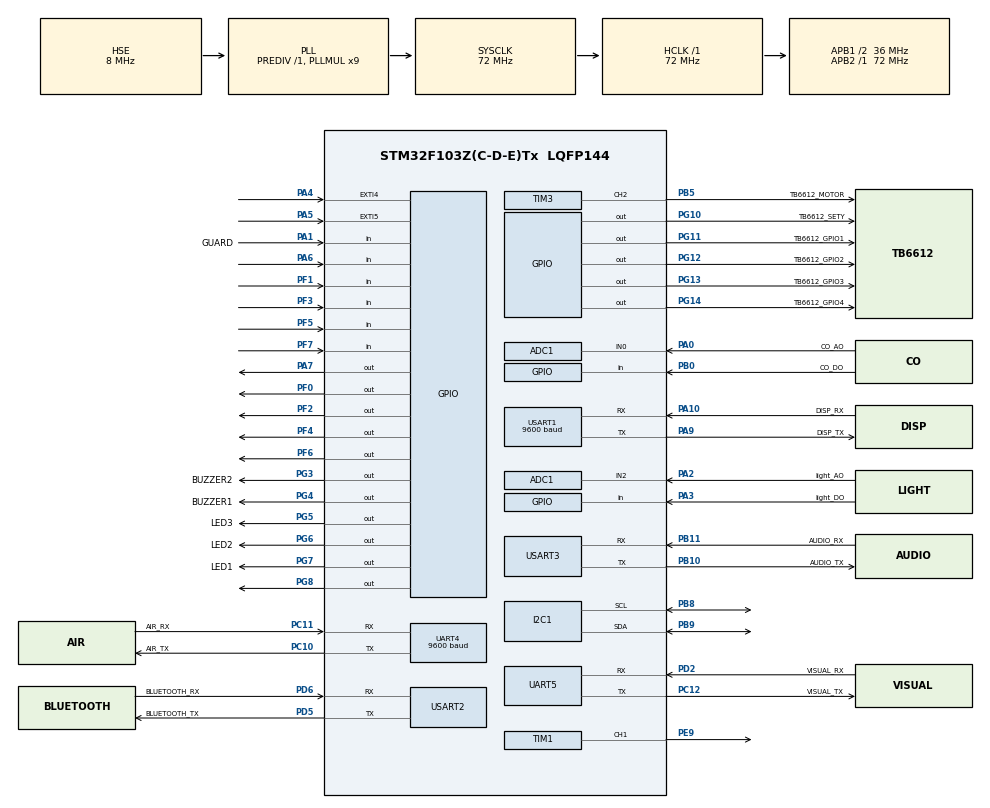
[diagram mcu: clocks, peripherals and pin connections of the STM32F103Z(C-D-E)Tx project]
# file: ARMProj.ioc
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ADC1.Channel-0\#ChannelRegularConversion=ADC_CHANNEL_2
ADC1.ContinuousConvMode=ENABLE
ADC1.NbrOfConversion=1
ADC1.NbrOfConversionFlag=1
ADC1.Rank-0\#ChannelRegularConversion=1
ADC1.SamplingTime-0\#ChannelRegularConversion=ADC_SAMPLETIME_239CYCLES_5
ADC1.master=1
Dma.ADC1.2.Direction=DMA_PERIPH_TO_MEMORY
Dma.ADC1.2.Instance=DMA1_Channel1
Dma.ADC1.2.MemDataAlignment=DMA_MDATAALIGN_HALFWORD
Dma.ADC1.2.MemInc=DMA_MINC_ENABLE
Dma.ADC1.2.Mode=DMA_CIRCULAR
Dma.ADC1.2.PeriphDataAlignment=DMA_PDATAALIGN_HALFWORD
Dma.ADC1.2.PeriphInc=DMA_PINC_DISABLE
Dma.ADC1.2.Priority=DMA_PRIORITY_LOW
Dma.Request0=USART1_RX
Dma.Request1=UART4_RX
Dma.Request2=ADC1
Dma.Request3=USART3_RX
Dma.UART4_RX.1.Direction=DMA_PERIPH_TO_MEMORY
Dma.UART4_RX.1.Instance=DMA2_Channel3
Dma.UART4_RX.1.MemDataAlignment=DMA_MDATAALIGN_BYTE
Dma.UART4_RX.1.MemInc=DMA_MINC_ENABLE
Dma.UART4_RX.1.Mode=DMA_NORMAL
Dma.UART4_RX.1.PeriphDataAlignment=DMA_PDATAALIGN_BYTE
Dma.UART4_RX.1.PeriphInc=DMA_PINC_DISABLE
Dma.UART4_RX.1.Priority=DMA_PRIORITY_MEDIUM
Dma.USART1_RX.0.Direction=DMA_PERIPH_TO_MEMORY
Dma.USART1_RX.0.Instance=DMA1_Channel5
Dma.USART1_RX.0.MemDataAlignment=DMA_MDATAALIGN_BYTE
Dma.USART1_RX.0.MemInc=DMA_MINC_ENABLE
Dma.USART1_RX.0.Mode=DMA_NORMAL
Dma.USART1_RX.0.PeriphDataAlignment=DMA_PDATAALIGN_BYTE
Dma.USART1_RX.0.PeriphInc=DMA_PINC_DISABLE
Dma.USART1_RX.0.Priority=DMA_PRIORITY_HIGH
Dma.USART3_RX.3.Direction=DMA_PERIPH_TO_MEMORY
Dma.USART3_RX.3.Instance=DMA1_Channel3
Dma.USART3_RX.3.MemDataAlignment=DMA_MDATAALIGN_BYTE
Dma.USART3_RX.3.MemInc=DMA_MINC_ENABLE
Dma.USART3_RX.3.Mode=DMA_NORMAL
Dma.USART3_RX.3.PeriphDataAlignment=DMA_PDATAALIGN_BYTE
Dma.USART3_RX.3.PeriphInc=DMA_PINC_DISABLE
Dma.USART3_RX.3.Priority=DMA_PRIORITY_MEDIUM
FREERTOS.BinarySemaphores01=uartWebSem,Dynamic,NULL;uartAirSem,Dynamic,NULL;uartAudioSem,Dynamic,NULL
FREERTOS.Tasks01=uart_web,2,128,StartUartWeb,Default,NULL,Dynamic,NULL,NULL;device_ctrl,0,128,StartDeviceCtrl,Default,NULL,Dynamic,NULL,NULL;detect_ctrl,0,128,StartDetectCtrl,Default,NULL,Dynamic,NULL,NULL;uart_audio,2,128,StartUartAudio,Default,NULL,Dynamic,NULL,NULL;uart_visual,1,128,StartUartVisual,Default,NULL,Dynamic,NULL,NULL
FREERTOS.configTOTAL_HEAP_SIZE=8192
Mcu.Family=STM32F1
Mcu.Name=STM32F103Z(C-D-E)Tx
Mcu.Package=LQFP144
NVIC.DMA1_Channel1_IRQn=true\:5\:0\:false\:false\:true\:true\:false\:true\:true
NVIC.DMA1_Channel3_IRQn=true\:5\:0\:false\:false\:true\:true\:false\:true\:true
NVIC.DMA1_Channel5_IRQn=true\:5\:0\:false\:false\:true\:true\:false\:true\:true
NVIC.DMA2_Channel3_IRQn=true\:5\:0\:false\:false\:true\:true\:false\:true\:true
NVIC.EXTI4_IRQn=true\:5\:0\:false\:false\:true\:true\:true\:true\:true
NVIC.EXTI9_5_IRQn=true\:5\:0\:false\:false\:true\:true\:true\:true\:true
NVIC.PriorityGroup=NVIC_PRIORITYGROUP_4
NVIC.TIM6_IRQn=true\:15\:0\:false\:false\:true\:false\:false\:true\:true
NVIC.TimeBase=TIM6_IRQn
NVIC.TimeBaseIP=TIM6
NVIC.UART4_IRQn=true\:5\:0\:false\:false\:true\:true\:true\:true\:true
NVIC.UART5_IRQn=true\:5\:0\:false\:false\:true\:true\:true\:true\:true
NVIC.USART1_IRQn=true\:5\:0\:false\:false\:true\:true\:true\:true\:true
NVIC.USART3_IRQn=true\:5\:0\:false\:false\:true\:true\:true\:true\:true
OSC_IN.Mode=HSE-External-Oscillator
OSC_IN.Signal=RCC_OSC_IN
OSC_OUT.Mode=HSE-External-Oscillator
OSC_OUT.Signal=RCC_OSC_OUT
PA0-WKUP.GPIO_Label=CO_AO
PA0-WKUP.Signal=ADCx_IN0
PA1.GPIO_Label=GUARD
PA1.Signal=GPIO_Input
PA10.GPIO_Label=DISP_RX
PA10.Mode=Asynchronous
PA10.Signal=USART1_RX
PA13.Mode=Serial_Wire
PA13.Signal=SYS_JTMS-SWDIO
PA14.Mode=Serial_Wire
PA14.Signal=SYS_JTCK-SWCLK
PA2.GPIO_Label=light_AO
PA2.Signal=ADCx_IN2
PA3.GPIO_Label=light_DO
PA3.Signal=GPIO_Input
PA4.Signal=GPXTI4
PA5.Signal=GPXTI5
PA6.Signal=GPIO_Input
PA7.Signal=GPIO_Output
PA9.GPIO_Label=DISP_TX
PA9.Mode=Asynchronous
PA9.Signal=USART1_TX
PB0.GPIO_Label=CO_DO
PB0.Signal=GPIO_Input
PB10.GPIO_Label=AUDIO_TX
PB10.Mode=Asynchronous
PB10.Signal=USART3_TX
PB11.GPIO_Label=AUDIO_RX
PB11.Mode=Asynchronous
PB11.Signal=USART3_RX
PB5.GPIO_Label=TB6612_MOTOR
PB5.Signal=S_TIM3_CH2
PB7.GPIO_Label=TB6612_FAN
PB7.Signal=S_TIM4_CH2
PB8.Mode=I2C
PB8.Signal=I2C1_SCL
PB9.Mode=I2C
PB9.Signal=I2C1_SDA
PC10.GPIO_Label=AIR_TX
PC10.Mode=Asynchronous
PC10.Signal=UART4_TX
PC11.GPIO_Label=AIR_RX
PC11.Mode=Asynchronous
PC11.Signal=UART4_RX
PC12.GPIO_Label=VISUAL_TX
PC12.Mode=Asynchronous
PC12.Signal=UART5_TX
PD2.GPIO_Label=VISUAL_RX
PD2.Mode=Asynchronous
PD2.Signal=UART5_RX
PD5.GPIO_Label=BLUETOOTH_TX
PD5.Mode=Asynchronous
PD5.Signal=USART2_TX
PD6.GPIO_Label=BLUETOOTH_RX
PD6.Mode=Asynchronous
PD6.Signal=USART2_RX
PE9.Signal=S_TIM1_CH1
PF0.GPIO_PuPd=GPIO_PULLDOWN
PF0.GPIO_Speed=GPIO_SPEED_FREQ_HIGH
PF0.Signal=GPIO_Output
PF1.GPIO_PuPd=GPIO_PULLDOWN
PF1.Signal=GPIO_Input
PF2.GPIO_PuPd=GPIO_PULLDOWN
PF2.GPIO_Speed=GPIO_SPEED_FREQ_HIGH
PF2.Signal=GPIO_Output
PF3.GPIO_PuPd=GPIO_PULLDOWN
PF3.Signal=GPIO_Input
PF4.GPIO_PuPd=GPIO_PULLDOWN
PF4.GPIO_Speed=GPIO_SPEED_FREQ_HIGH
PF4.Signal=GPIO_Output
PF5.GPIO_PuPd=GPIO_PULLDOWN
PF5.Signal=GPIO_Input
PF6.GPIO_PuPd=GPIO_PULLDOWN
PF6.GPIO_Speed=GPIO_SPEED_FREQ_HIGH
PF6.Signal=GPIO_Output
PF7.GPIO_PuPd=GPIO_PULLDOWN
PF7.Signal=GPIO_Input
PG10.GPIO_Label=TB6612_SETY
PG10.Signal=GPIO_Output
PG11.GPIO_Label=TB6612_GPIO1
PG11.Signal=GPIO_Output
PG12.GPIO_Label=TB6612_GPIO2
PG12.Signal=GPIO_Output
PG13.GPIO_Label=TB6612_GPIO3
PG13.Signal=GPIO_Output
PG14.GPIO_Label=TB6612_GPIO4
PG14.Signal=GPIO_Output
PG3.GPIO_Label=BUZZER2
PG3.Signal=GPIO_Output
PG4.GPIO_Label=BUZZER1
PG4.Signal=GPIO_Output
PG5.GPIO_Label=LED3
PG5.PinState=GPIO_PIN_SET
PG5.Signal=GPIO_Output
PG6.GPIO_Label=LED2
PG6.PinState=GPIO_PIN_SET
PG6.Signal=GPIO_Output
PG7.GPIO_Label=LED1
PG7.PinState=GPIO_PIN_SET
PG7.Signal=GPIO_Output
PG8.Signal=GPIO_Output
ProjectManager.HeapSize=0x200
ProjectManager.StackSize=0x400
ProjectManager.TargetToolchain=MDK-ARM V5.32
RCC.ADCPresc=RCC_ADCPCLK2_DIV6
RCC.AHBFreq_Value=72000000
RCC.APB1CLKDivider=RCC_HCLK_DIV2
RCC.APB1Freq_Value=36000000
RCC.APB1TimFreq_Value=72000000
RCC.APB2Freq_Value=72000000
RCC.APB2TimFreq_Value=72000000
RCC.HCLKFreq_Value=72000000
RCC.PLLMUL=RCC_PLL_MUL9
RCC.PLLSourceVirtual=RCC_PLLSOURCE_HSE
RCC.SYSCLKFreq_VALUE=72000000
RCC.SYSCLKSource=RCC_SYSCLKSOURCE_PLLCLK
RCC.USBFreq_Value=72000000
SH.ADCx_IN0.0=ADC1_IN0,IN0
SH.ADCx_IN2.0=ADC1_IN2,IN2
SH.S_TIM1_CH1.0=TIM1_CH1,PWM Generation1 CH1
SH.S_TIM3_CH2.0=TIM3_CH2,PWM Generation2 CH2
SH.S_TIM4_CH2.0=TIM4_CH2
TIM1.Channel-PWM\ Generation1\ CH1=TIM_CHANNEL_1
TIM1.Period=2000
TIM1.Prescaler=719
TIM1.Pulse-PWM\ Generation1\ CH1=150
TIM3.Channel-PWM\ Generation2\ CH2=TIM_CHANNEL_2
TIM3.Period=100
TIM3.Prescaler=7199
UART4.BaudRate=9600
UART4.VirtualMode=Asynchronous
UART5.VirtualMode=Asynchronous
USART1.BaudRate=9600
USART1.VirtualMode=VM_ASYNC
USART2.VirtualMode=VM_ASYNC
USART3.VirtualMode=VM_ASYNC
VP_FREERTOS_VS_CMSIS_V1.Mode=CMSIS_V1
VP_SYS_VS_tim6.Mode=TIM6
VP_TIM1_VS_ClockSourceINT.Mode=Internal
VP_TIM3_VS_ClockSourceINT.Mode=Internal
board=custom

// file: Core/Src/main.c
/* USER CODE BEGIN Header */
/**
  ******************************************************************************
  * @file           : main.c
  * @brief          : Main program body
  ******************************************************************************
  * @attention
  *
  * Copyright (c) 2023 STMicroelectronics.
  * All rights reserved.
  *
  * This software is licensed under terms that can be found in the LICENSE file
  * in the root directory of this software component.
  * If no LICENSE file comes with this software, it is provided AS-IS.
  *
  ******************************************************************************
  */
/* USER CODE END Header */
#include "main.h"
#include "cmsis_os.h"
#include "adc.h"
#include "dma.h"
#include "i2c.h"
#include "tim.h"
#include "usart.h"
#include "gpio.h"

/* USER CODE BEGIN Includes */
#include "string.h"
#include "oled.h"
#include <stdio.h>
/* USER CODE END Includes */

/* USER CODE BEGIN PV */
extern DMA_HandleTypeDef hdma_usart1_rx;
extern DMA_HandleTypeDef hdma_uart4_rx;
extern DMA_HandleTypeDef hdma_usart3_rx;

extern uint8_t rxBuffer[50];
extern uint8_t rx_air[50];
extern uint8_t rx_audio[50];
extern uint8_t rx_visual[20];
extern uint8_t rxdat;

uint16_t adc_value[10];
/* USER CODE END PV */

void SystemClock_Config(void);
void MX_FREERTOS_Init(void);

int main(void)
{

  /* MCU Configuration--------------------------------------------------------*/

  /* Reset of all peripherals, Initializes the Flash interface and the Systick. */
  HAL_Init();

  /* Configure the system clock */
  SystemClock_Config();

  /* Initialize all configured peripherals */
  MX_GPIO_Init();
  MX_DMA_Init();
  MX_TIM3_Init();
  MX_UART4_Init();
  MX_UART5_Init();
  MX_USART1_UART_Init();
  MX_USART2_UART_Init();
  MX_USART3_UART_Init();
  MX_ADC1_Init();
  MX_TIM1_Init();
  MX_I2C1_Init();
  /* USER CODE BEGIN 2 */
  HAL_UARTEx_ReceiveToIdle_DMA(&huart1, rxBuffer, sizeof(rxBuffer));
  __HAL_DMA_DISABLE_IT(&hdma_usart1_rx, DMA_IT_HT);

  HAL_UARTEx_ReceiveToIdle_DMA(&huart4, rx_air, sizeof(rx_air));
  __HAL_DMA_DISABLE_IT(&hdma_uart4_rx, DMA_IT_HT);

  HAL_UARTEx_ReceiveToIdle_DMA(&huart3, rx_audio, sizeof(rx_audio));
  __HAL_DMA_DISABLE_IT(&hdma_usart3_rx, DMA_IT_HT);

  HAL_ADCEx_Calibration_Start(&hadc1);
  HAL_ADC_Start_DMA(&hadc1, (uint32_t *)adc_value, 10);

  HAL_UART_Receive_IT(&huart5 , &rxdat, 1);

  HAL_TIM_PWM_Start(&htim1,TIM_CHANNEL_1);

	OLED_Init();
	OLED_Display_On();
  OLED_Clear();
  /* USER CODE END 2 */

  /* Call init function for freertos objects (in freertos.c) */
  MX_FREERTOS_Init();

  /* Start scheduler */
  osKernelStart();

  /* We should never get here as control is now taken by the scheduler */
  /* Infinite loop */
  while (1)
  {

  }
}

void SystemClock_Config(void)
{
  RCC_OscInitTypeDef RCC_OscInitStruct = {0};
  RCC_ClkInitTypeDef RCC_ClkInitStruct = {0};
  RCC_PeriphCLKInitTypeDef PeriphClkInit = {0};

  /** Initializes the RCC Oscillators according to the specified parameters
  * in the RCC_OscInitTypeDef structure.
  */
  RCC_OscInitStruct.OscillatorType = RCC_OSCILLATORTYPE_HSE;
  RCC_OscInitStruct.HSEState = RCC_HSE_ON;
  RCC_OscInitStruct.HSEPredivValue = RCC_HSE_PREDIV_DIV1;
  RCC_OscInitStruct.HSIState = RCC_HSI_ON;
  RCC_OscInitStruct.PLL.PLLState = RCC_PLL_ON;
  RCC_OscInitStruct.PLL.PLLSource = RCC_PLLSOURCE_HSE;
  RCC_OscInitStruct.PLL.PLLMUL = RCC_PLL_MUL9;
  if (HAL_RCC_OscConfig(&RCC_OscInitStruct) != HAL_OK)
  {
    Error_Handler();
  }

  /** Initializes the CPU, AHB and APB buses clocks
  */
  RCC_ClkInitStruct.ClockType = RCC_CLOCKTYPE_HCLK|RCC_CLOCKTYPE_SYSCLK
                              |RCC_CLOCKTYPE_PCLK1|RCC_CLOCKTYPE_PCLK2;
  RCC_ClkInitStruct.SYSCLKSource = RCC_SYSCLKSOURCE_PLLCLK;
  RCC_ClkInitStruct.AHBCLKDivider = RCC_SYSCLK_DIV1;
  RCC_ClkInitStruct.APB1CLKDivider = RCC_HCLK_DIV2;
  RCC_ClkInitStruct.APB2CLKDivider = RCC_HCLK_DIV1;

  if (HAL_RCC_ClockConfig(&RCC_ClkInitStruct, FLASH_LATENCY_2) != HAL_OK)
  {
    Error_Handler();
  }
  PeriphClkInit.PeriphClockSelection = RCC_PERIPHCLK_ADC;
  PeriphClkInit.AdcClockSelection = RCC_ADCPCLK2_DIV6;
  if (HAL_RCCEx_PeriphCLKConfig(&PeriphClkInit) != HAL_OK)
  {
    Error_Handler();
  }
}

void HAL_TIM_PeriodElapsedCallback(TIM_HandleTypeDef *htim)
{
  if (htim->Instance == TIM6) {
    HAL_IncTick();
  }
}

void Error_Handler(void)
{
  __disable_irq();
  while (1)
  {
  }
}

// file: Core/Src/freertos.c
/* USER CODE BEGIN Header */
/**
 ******************************************************************************
 * File Name          : freertos.c
 * Description        : Code for freertos applications
 ******************************************************************************
 * @attention
 *
 * Copyright (c) 2023 STMicroelectronics.
 * All rights reserved.
 *
 * This software is licensed under terms that can be found in the LICENSE file
 * in the root directory of this software component.
 * If no LICENSE file comes with this software, it is provided AS-IS.
 *
 ******************************************************************************
 */
/* USER CODE END Header */

#include "FreeRTOS.h"
#include "task.h"
#include "main.h"
#include "cmsis_os.h"

/* USER CODE BEGIN Includes */
#include "motor.h"
#include "fire_detect.h"
#include "uart_web_proc.h"
#include "light_control.h"
#include "uart_audio_proc.h"
#include "uart_visual_proc.h"
#include "oled.h"
#include "key_matrix.h"
/* USER CODE END Includes */

/* USER CODE BEGIN Variables */
extern uint8_t lockState;
extern uint8_t alarmState;
extern bool alarm_off_flag;

extern uint8_t lightState;
extern uint8_t people;
extern uint8_t fanState;
extern uint8_t autoState;

extern uint8_t temperature;

extern unsigned char rx_pointer;

extern uint16_t Password;
extern uint16_t Count;
extern unsigned char KeyNum;
/* USER CODE END Variables */
osThreadId uart_webHandle;
osThreadId device_ctrlHandle;
osThreadId detect_ctrlHandle;
osThreadId uart_audioHandle;
osThreadId uart_visualHandle;
osSemaphoreId uartWebSemHandle;
osSemaphoreId uartAirSemHandle;
osSemaphoreId uartAudioSemHandle;

void StartUartWeb(void const * argument);
void StartDeviceCtrl(void const * argument);
void StartDetectCtrl(void const * argument);
void StartUartAudio(void const * argument);
void StartUartVisual(void const * argument);

void MX_FREERTOS_Init(void); /* (MISRA C 2004 rule 8.1) */

/* GetIdleTaskMemory prototype (linked to static allocation support) */
void vApplicationGetIdleTaskMemory( StaticTask_t **ppxIdleTaskTCBBuffer, StackType_t **ppxIdleTaskStackBuffer, uint32_t *pulIdleTaskStackSize );

/* USER CODE BEGIN GET_IDLE_TASK_MEMORY */
static StaticTask_t xIdleTaskTCBBuffer;
static StackType_t xIdleStack[configMINIMAL_STACK_SIZE];

void vApplicationGetIdleTaskMemory(StaticTask_t **ppxIdleTaskTCBBuffer, StackType_t **ppxIdleTaskStackBuffer, uint32_t *pulIdleTaskStackSize)
{
  *ppxIdleTaskTCBBuffer = &xIdleTaskTCBBuffer;
  *ppxIdleTaskStackBuffer = &xIdleStack[0];
  *pulIdleTaskStackSize = configMINIMAL_STACK_SIZE;
  /* place for user code */
}
/* USER CODE END GET_IDLE_TASK_MEMORY */

void MX_FREERTOS_Init(void) {

  /* Create the semaphores(s) */
  /* definition and creation of uartWebSem */
  osSemaphoreDef(uartWebSem);
  uartWebSemHandle = osSemaphoreCreate(osSemaphore(uartWebSem), 1);

  /* definition and creation of uartAirSem */
  osSemaphoreDef(uartAirSem);
  uartAirSemHandle = osSemaphoreCreate(osSemaphore(uartAirSem), 1);

  /* definition and creation of uartAudioSem */
  osSemaphoreDef(uartAudioSem);
  uartAudioSemHandle = osSemaphoreCreate(osSemaphore(uartAudioSem), 1);

  /* Create the thread(s) */
  /* definition and creation of uart_web */
  osThreadDef(uart_web, StartUartWeb, osPriorityHigh, 0, 128);
  uart_webHandle = osThreadCreate(osThread(uart_web), NULL);

  /* definition and creation of device_ctrl */
  osThreadDef(device_ctrl, StartDeviceCtrl, osPriorityNormal, 0, 128);
  device_ctrlHandle = osThreadCreate(osThread(device_ctrl), NULL);

  /* definition and creation of detect_ctrl */
  osThreadDef(detect_ctrl, StartDetectCtrl, osPriorityNormal, 0, 128);
  detect_ctrlHandle = osThreadCreate(osThread(detect_ctrl), NULL);

  /* definition and creation of uart_audio */
  osThreadDef(uart_audio, StartUartAudio, osPriorityHigh, 0, 128);
  uart_audioHandle = osThreadCreate(osThread(uart_audio), NULL);

  /* definition and creation of uart_visual */
  osThreadDef(uart_visual, StartUartVisual, osPriorityAboveNormal, 0, 128);
  uart_visualHandle = osThreadCreate(osThread(uart_visual), NULL);

}

void StartUartWeb(void const * argument)
{
  /* USER CODE BEGIN StartUartWeb */
  /* Infinite loop */
  for (;;)
  {
    if (osSemaphoreWait(uartAirSemHandle, 1) == osOK)
      uart_air_rx_proc();

    uart_web_tx_proc();

    if (osSemaphoreWait(uartWebSemHandle, 1) == osOK)
      uart_web_rx_proc();
    osDelay(1);
  }
  /* USER CODE END StartUartWeb */
}

void StartDeviceCtrl(void const * argument)
{
  /* USER CODE BEGIN StartDeviceCtrl */
  /* Infinite loop */
  for (;;)
  {
    if (fanState == DEVICE_OFF)
      Close_fan();
    else
      Open_fan(fanState);

    led_ctrl(lightState);

    Door_Lock_system(lockState);

    char str[15];
    if (lockState == LOCKED)
    {
      sprintf(str, "Enter Password");
      OLED_ShowString(0, 0, str, 12, 0);
      sprintf(str, "To Unlock   ");
      OLED_ShowString(0, 1, str, 12, 0);
      sprintf(str, "Password:");
      OLED_ShowString(0, 3, str, 16, 0);
      if (Password == 0)
        sprintf(str, "    ");
      else
        sprintf(str, "%d   ", Password);
      OLED_ShowString(2, 5, str, 16, 0);
    }
    else
    {
      sprintf(str, "Door Unlocked ");
      OLED_ShowString(0, 0, str, 12, 0);
      sprintf(str, "Welcome Home");
      OLED_ShowString(0, 1, str, 12, 0);
      sprintf(str, "         ");
      OLED_ShowString(0, 3, str, 16, 0);
      sprintf(str, "    ");
      OLED_ShowString(2, 5, str, 16, 0);
    }
    osDelay(1);
  }
  /* USER CODE END StartDeviceCtrl */
}

void StartDetectCtrl(void const * argument)
{
  /* USER CODE BEGIN StartDetectCtrl */
  /* Infinite loop */
  for (;;)
  {
    if (Fire_Human_System(temperature) == 0x00 || alarm_off_flag == true)
    {
      HAL_GPIO_WritePin(GPIOG, GPIO_PIN_4, GPIO_PIN_RESET);
      alarmState = DEVICE_OFF;
    }
    else
    {
      uint8_t last_state = alarmState;
      HAL_GPIO_WritePin(GPIOG, GPIO_PIN_4, GPIO_PIN_SET);
      if (Fire_Human_System(temperature) == 0x01)
      {
        alarmState = 0x03;
        if (last_state != alarmState)
          HAL_UART_Transmit(&huart2, (uint8_t *)&"Fire happen!\r\n", 15, 50);
      }
      if (Fire_Human_System(temperature) == 0x02)
      {
        alarmState = 0x01;
        if (last_state != alarmState)
          HAL_UART_Transmit(&huart2, (uint8_t *)&"Unknow human enter!\r\n", 22, 50);
      }
      if (Fire_Human_System(temperature) == 0x03)
      {
        alarmState = 0x04;
        if (last_state != alarmState)
          HAL_UART_Transmit(&huart2, (uint8_t *)&"Fire happen and unknow human enter!\r\n", 38, 50);
      }
    }

    if (autoState == DEVICE_ON)
    {
      if (people == 0)
        lightState = DEVICE_OFF;
      if (people)
      {
        light_sensor();
        light_control();
      }
    }

    KeyNum = MatrixKey();
    password_check();

    osDelay(1);
  }
  /* USER CODE END StartDetectCtrl */
}

void StartUartAudio(void const * argument)
{
  /* USER CODE BEGIN StartUartAudio */
  /* Infinite loop */
  for (;;)
  {
    if (osSemaphoreWait(uartAudioSemHandle, 1) == osOK)
      uart_audio_proc();
    osDelay(1);
  }
  /* USER CODE END StartUartAudio */
}

void StartUartVisual(void const * argument)
{
  /* USER CODE BEGIN StartUartVisual */
  /* Infinite loop */
  for (;;)
  {
    if (rx_pointer != 0)
    {
      int temp = rx_pointer;
      vTaskDelay(1);
      if (temp == rx_pointer)
        uart_visual_proc();
    }

    osDelay(1);
  }
  /* USER CODE END StartUartVisual */
}
